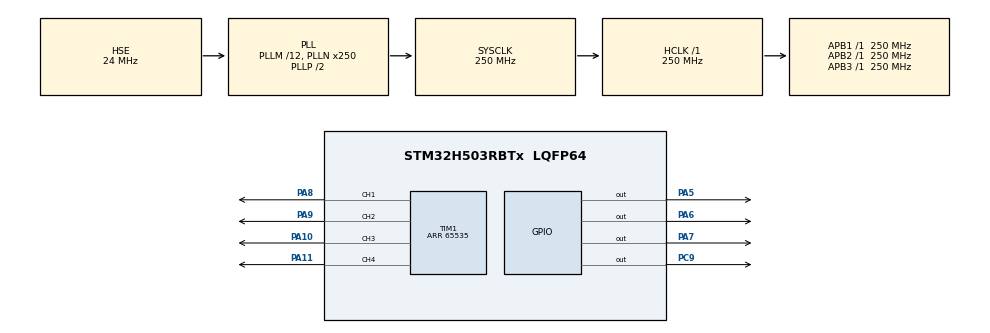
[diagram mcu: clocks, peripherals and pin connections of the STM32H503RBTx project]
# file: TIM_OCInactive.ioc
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Mcu.Family=STM32H5
Mcu.Name=STM32H503RBTx
Mcu.Package=LQFP64
NVIC.PriorityGroup=NVIC_PRIORITYGROUP_4
NVIC.TIM1_CC_IRQn=true\:0\:0\:false\:false\:true\:true\:true\:true
PA10.GPIO_PuPd=GPIO_PULLUP
PA10.GPIO_Speed=GPIO_SPEED_FREQ_VERY_HIGH
PA10.Signal=S_TIM1_CH3
PA11.GPIO_PuPd=GPIO_PULLUP
PA11.GPIO_Speed=GPIO_SPEED_FREQ_VERY_HIGH
PA11.Signal=S_TIM1_CH4
PA5.GPIO_PuPd=GPIO_PULLUP
PA5.GPIO_Speed=GPIO_SPEED_FREQ_HIGH
PA5.Signal=GPIO_Output
PA6.GPIO_PuPd=GPIO_PULLUP
PA6.GPIO_Speed=GPIO_SPEED_FREQ_HIGH
PA6.Signal=GPIO_Output
PA7.GPIO_PuPd=GPIO_PULLUP
PA7.GPIO_Speed=GPIO_SPEED_FREQ_HIGH
PA7.Signal=GPIO_Output
PA8.GPIO_PuPd=GPIO_PULLUP
PA8.GPIO_Speed=GPIO_SPEED_FREQ_VERY_HIGH
PA8.Signal=S_TIM1_CH1
PA9.GPIO_PuPd=GPIO_PULLUP
PA9.GPIO_Speed=GPIO_SPEED_FREQ_VERY_HIGH
PA9.Signal=S_TIM1_CH2
PC9.GPIO_PuPd=GPIO_PULLUP
PC9.GPIO_Speed=GPIO_SPEED_FREQ_HIGH
PC9.Signal=GPIO_Output
PH0-OSC_IN(PH0).Mode=HSE-External-Oscillator
PH0-OSC_IN(PH0).Signal=RCC_OSC_IN
PH1-OSC_OUT(PH1).Mode=HSE-External-Oscillator
PH1-OSC_OUT(PH1).Signal=RCC_OSC_OUT
ProjectManager.HeapSize=0x200
ProjectManager.StackSize=0x400
ProjectManager.TargetToolchain=EWARM V9.20
RCC.ADCFreq_Value=250000000
RCC.AHBFreq_Value=250000000
RCC.APB1Freq_Value=250000000
RCC.APB1TimFreq_Value=250000000
RCC.APB2Freq_Value=250000000
RCC.APB2TimFreq_Value=250000000
RCC.APB3Freq_Value=250000000
RCC.CSI_VALUE=4000000
RCC.CortexFreq_Value=250000000
RCC.EPOD_VALUE=24000000
RCC.HCLKFreq_Value=250000000
RCC.HSE_VALUE=24000000
RCC.HSI48_VALUE=48000000
RCC.HSIDiv=RCC_HSI_DIV1
RCC.HSI_VALUE=64000000
RCC.LSE_VALUE=32768
RCC.LSIRC_VALUE=32000
RCC.PLLM=12
RCC.PLLN=250
RCC.PLLSourceVirtual=RCC_PLL1_SOURCE_HSE
RCC.SYSCLKFreq_VALUE=250000000
RCC.SYSCLKSource=RCC_SYSCLKSOURCE_PLLCLK
RCC.USBFreq_Value=48000000
RCC.VCOOutputFreq_Value=500000000
SH.S_TIM1_CH1.0=TIM1_CH1,Output Compare1 CH1
SH.S_TIM1_CH2.0=TIM1_CH2,Output Compare2 CH2
SH.S_TIM1_CH3.0=TIM1_CH3,Output Compare3 CH3
SH.S_TIM1_CH4.0=TIM1_CH4,Output Compare4 CH4
TIM1.AutoReloadPreload=TIM_AUTORELOAD_PRELOAD_DISABLE
TIM1.AutomaticOutput=TIM_AUTOMATICOUTPUT_DISABLE
TIM1.Break2Filter=0
TIM1.Break2Polarity=TIM_BREAK2POLARITY_HIGH
TIM1.Break2State=TIM_BREAK2_DISABLE
TIM1.BreakFilter=0
TIM1.BreakPolarity=TIM_BREAKPOLARITY_HIGH
TIM1.BreakState=TIM_BREAK_DISABLE
TIM1.Channel-Output\ Compare1\ CH1=TIM_CHANNEL_1
TIM1.Channel-Output\ Compare2\ CH2=TIM_CHANNEL_2
TIM1.Channel-Output\ Compare3\ CH3=TIM_CHANNEL_3
TIM1.Channel-Output\ Compare4\ CH4=TIM_CHANNEL_4
TIM1.ClearInputSource=TIM_CLEARINPUTSOURCE_NONE
TIM1.ClockDivision=TIM_CLOCKDIVISION_DIV1
TIM1.CounterMode=TIM_COUNTERMODE_UP
TIM1.LockLevel=TIM_LOCKLEVEL_OFF
TIM1.OC1Preload=DISABLE
TIM1.OC2Preload=DISABLE
TIM1.OC3Preload=DISABLE
TIM1.OC4Preload=DISABLE
TIM1.OCIdleState_1=TIM_OCIDLESTATE_RESET
TIM1.OCIdleState_2=TIM_OCIDLESTATE_RESET
TIM1.OCIdleState_3=TIM_OCIDLESTATE_RESET
TIM1.OCIdleState_4=TIM_OCIDLESTATE_RESET
TIM1.OCMode_1=TIM_OCMODE_INACTIVE
TIM1.OCMode_2=TIM_OCMODE_INACTIVE
TIM1.OCMode_3=TIM_OCMODE_INACTIVE
TIM1.OCMode_4=TIM_OCMODE_INACTIVE
TIM1.OCPolarity_1=TIM_OCPOLARITY_HIGH
TIM1.OCPolarity_2=TIM_OCPOLARITY_HIGH
TIM1.OCPolarity_3=TIM_OCPOLARITY_HIGH
TIM1.OCPolarity_4=TIM_OCPOLARITY_HIGH
TIM1.OffStateIDLEMode=TIM_OSSI_DISABLE
TIM1.OffStateRunMode=TIM_OSSR_DISABLE
TIM1.Period=65535
TIM1.Prescaler=PRESCALER_VALUE
TIM1.PulseNoDither_1=PULSE1_VALUE
TIM1.PulseNoDither_2=PULSE2_VALUE
TIM1.PulseNoDither_3=PULSE3_VALUE
TIM1.PulseNoDither_4=PULSE4_VALUE
TIM1.RepetitionCounter=0
TIM1.SourceBRK2COMP1=TIM_BREAKINPUTSOURCE_DISABLE
TIM1.SourceBRK2DigInput=TIM_BREAKINPUTSOURCE_DISABLE
TIM1.SourceBRKCOMP1=TIM_BREAKINPUTSOURCE_DISABLE
TIM1.SourceBRKDigInput=TIM_BREAKINPUTSOURCE_DISABLE
TIM1.TIM_MasterOutputTrigger=TIM_TRGO_RESET
TIM1.TIM_MasterOutputTrigger2=TIM_TRGO2_RESET
TIM1.TIM_MasterSlaveMode=TIM_MASTERSLAVEMODE_DISABLE
VP_ICACHE_VS_ICACHE.Mode=DefaultMode
VP_PWR_VS_SECSignals.Mode=Security/Privilege
board=custom

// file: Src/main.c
/* USER CODE BEGIN Header */
/**
  ******************************************************************************
  * @file    TIM/TIM_OCInactive/Src/main.c
  * @author  MCD Application Team
  * @brief   This example shows how to configure the Timer to generate four
  *          delayed signals.
  ******************************************************************************
  * @attention
  *
  * Copyright (c) 2023 STMicroelectronics.
  * All rights reserved.
  *
  * This software is licensed under terms that can be found in the LICENSE file
  * in the root directory of this software component.
  * If no LICENSE file comes with this software, it is provided AS-IS.
  *
  ******************************************************************************
  */
/* USER CODE END Header */
#include "main.h"

TIM_HandleTypeDef htim1;

void SystemClock_Config(void);
static void MX_GPIO_Init(void);
static void MX_ICACHE_Init(void);
static void MX_TIM1_Init(void);

int main(void)
{

  /* USER CODE BEGIN 1 */
  /* STM32H5xx HAL library initialization:
       - Systick timer is configured by default as source of time base, but user
             can eventually implement his proper time base source (a general purpose
             timer for example or other time source), keeping in mind that Time base
             duration should be kept 1ms since PPP_TIMEOUT_VALUEs are defined and
             handled in milliseconds basis.
       - Set NVIC Group Priority to 4
       - Low Level Initialization
     */
  /* USER CODE END 1 */

  /* MCU Configuration--------------------------------------------------------*/

  /* Reset of all peripherals, Initializes the Flash interface and the Systick. */
  HAL_Init();

  /* Configure the system clock */
  SystemClock_Config();

  /* Initialize all configured peripherals */
  MX_GPIO_Init();
  MX_ICACHE_Init();
  MX_TIM1_Init();
  /* USER CODE BEGIN 2 */
  /*## Set GPIO Pins PA4, PA5, PA6 and PA7 as reference ###################*/
  HAL_GPIO_WritePin(GPIOA, GPIO_PIN_5, GPIO_PIN_SET);
  HAL_GPIO_WritePin(GPIOA, GPIO_PIN_6, GPIO_PIN_SET);
  HAL_GPIO_WritePin(GPIOA, GPIO_PIN_7, GPIO_PIN_SET);
  HAL_GPIO_WritePin(GPIOC, GPIO_PIN_9, GPIO_PIN_SET);

  /*## Start signals generation #######################################*/
  /* Start channel 1 in Output compare mode */
  if(HAL_TIM_OC_Start_IT(&htim1, TIM_CHANNEL_1) != HAL_OK)
  {
    /* Starting Error */
    Error_Handler();
  }
  /* Start channel 2 in Output compare mode */
  if(HAL_TIM_OC_Start_IT(&htim1, TIM_CHANNEL_2) != HAL_OK)
  {
    /* Starting Error */
    Error_Handler();
  }
  /* Start channel 3 in Output compare mode */
  if(HAL_TIM_OC_Start_IT(&htim1, TIM_CHANNEL_3) != HAL_OK)
  {
    /* Starting Error */
    Error_Handler();
  }
  /* Start channel 4 in Output compare mode */
  if(HAL_TIM_OC_Start_IT(&htim1, TIM_CHANNEL_4) != HAL_OK)
  {
    /* Starting Error */
    Error_Handler();
  }

  /* USER CODE END 2 */

  /* Infinite loop */
  while (1)
  {

  }
}

void SystemClock_Config(void)
{
  RCC_OscInitTypeDef RCC_OscInitStruct = {0};
  RCC_ClkInitTypeDef RCC_ClkInitStruct = {0};

  /** Configure the main internal regulator output voltage
  */
  __HAL_PWR_VOLTAGESCALING_CONFIG(PWR_REGULATOR_VOLTAGE_SCALE0);

  while(!__HAL_PWR_GET_FLAG(PWR_FLAG_VOSRDY)) {}

  /** Initializes the RCC Oscillators according to the specified parameters
  * in the RCC_OscInitTypeDef structure.
  */
  RCC_OscInitStruct.OscillatorType = RCC_OSCILLATORTYPE_HSE;
  RCC_OscInitStruct.HSEState = RCC_HSE_ON;
  RCC_OscInitStruct.PLL.PLLState = RCC_PLL_ON;
  RCC_OscInitStruct.PLL.PLLSource = RCC_PLL1_SOURCE_HSE;
  RCC_OscInitStruct.PLL.PLLM = 12;
  RCC_OscInitStruct.PLL.PLLN = 250;
  RCC_OscInitStruct.PLL.PLLP = 2;
  RCC_OscInitStruct.PLL.PLLQ = 2;
  RCC_OscInitStruct.PLL.PLLR = 2;
  RCC_OscInitStruct.PLL.PLLRGE = RCC_PLL1_VCIRANGE_1;
  RCC_OscInitStruct.PLL.PLLVCOSEL = RCC_PLL1_VCORANGE_WIDE;
  RCC_OscInitStruct.PLL.PLLFRACN = 0;
  if (HAL_RCC_OscConfig(&RCC_OscInitStruct) != HAL_OK)
  {
    Error_Handler();
  }

  /** Initializes the CPU, AHB and APB buses clocks
  */
  RCC_ClkInitStruct.ClockType = RCC_CLOCKTYPE_HCLK|RCC_CLOCKTYPE_SYSCLK
                              |RCC_CLOCKTYPE_PCLK1|RCC_CLOCKTYPE_PCLK2
                              |RCC_CLOCKTYPE_PCLK3;
  RCC_ClkInitStruct.SYSCLKSource = RCC_SYSCLKSOURCE_PLLCLK;
  RCC_ClkInitStruct.AHBCLKDivider = RCC_SYSCLK_DIV1;
  RCC_ClkInitStruct.APB1CLKDivider = RCC_HCLK_DIV1;
  RCC_ClkInitStruct.APB2CLKDivider = RCC_HCLK_DIV1;
  RCC_ClkInitStruct.APB3CLKDivider = RCC_HCLK_DIV1;

  if (HAL_RCC_ClockConfig(&RCC_ClkInitStruct, FLASH_LATENCY_5) != HAL_OK)
  {
    Error_Handler();
  }

  /** Configure the programming delay
  */
  __HAL_FLASH_SET_PROGRAM_DELAY(FLASH_PROGRAMMING_DELAY_2);
}

static void MX_ICACHE_Init(void)
{

  /** Enable instruction cache (default 2-ways set associative cache)
  */
  if (HAL_ICACHE_Enable() != HAL_OK)
  {
    Error_Handler();
  }

}

static void MX_TIM1_Init(void)
{

  TIM_MasterConfigTypeDef sMasterConfig = {0};
  TIM_OC_InitTypeDef sConfigOC = {0};
  TIM_BreakDeadTimeConfigTypeDef sBreakDeadTimeConfig = {0};

  htim1.Instance = TIM1;
  htim1.Init.Prescaler = PRESCALER_VALUE;
  htim1.Init.CounterMode = TIM_COUNTERMODE_UP;
  htim1.Init.Period = 65535;
  htim1.Init.ClockDivision = TIM_CLOCKDIVISION_DIV1;
  htim1.Init.RepetitionCounter = 0;
  htim1.Init.AutoReloadPreload = TIM_AUTORELOAD_PRELOAD_DISABLE;
  if (HAL_TIM_OC_Init(&htim1) != HAL_OK)
  {
    Error_Handler();
  }
  sMasterConfig.MasterOutputTrigger = TIM_TRGO_RESET;
  sMasterConfig.MasterOutputTrigger2 = TIM_TRGO2_RESET;
  sMasterConfig.MasterSlaveMode = TIM_MASTERSLAVEMODE_DISABLE;
  if (HAL_TIMEx_MasterConfigSynchronization(&htim1, &sMasterConfig) != HAL_OK)
  {
    Error_Handler();
  }
  sConfigOC.OCMode = TIM_OCMODE_INACTIVE;
  sConfigOC.Pulse = PULSE1_VALUE;
  sConfigOC.OCPolarity = TIM_OCPOLARITY_HIGH;
  sConfigOC.OCNPolarity = TIM_OCNPOLARITY_HIGH;
  sConfigOC.OCFastMode = TIM_OCFAST_DISABLE;
  sConfigOC.OCIdleState = TIM_OCIDLESTATE_RESET;
  sConfigOC.OCNIdleState = TIM_OCNIDLESTATE_RESET;
  if (HAL_TIM_OC_ConfigChannel(&htim1, &sConfigOC, TIM_CHANNEL_1) != HAL_OK)
  {
    Error_Handler();
  }
  sConfigOC.Pulse = PULSE2_VALUE;
  if (HAL_TIM_OC_ConfigChannel(&htim1, &sConfigOC, TIM_CHANNEL_2) != HAL_OK)
  {
    Error_Handler();
  }
  sConfigOC.Pulse = PULSE3_VALUE;
  if (HAL_TIM_OC_ConfigChannel(&htim1, &sConfigOC, TIM_CHANNEL_3) != HAL_OK)
  {
    Error_Handler();
  }
  sConfigOC.Pulse = PULSE4_VALUE;
  if (HAL_TIM_OC_ConfigChannel(&htim1, &sConfigOC, TIM_CHANNEL_4) != HAL_OK)
  {
    Error_Handler();
  }
  sBreakDeadTimeConfig.OffStateRunMode = TIM_OSSR_DISABLE;
  sBreakDeadTimeConfig.OffStateIDLEMode = TIM_OSSI_DISABLE;
  sBreakDeadTimeConfig.LockLevel = TIM_LOCKLEVEL_OFF;
  sBreakDeadTimeConfig.DeadTime = 0;
  sBreakDeadTimeConfig.BreakState = TIM_BREAK_DISABLE;
  sBreakDeadTimeConfig.BreakPolarity = TIM_BREAKPOLARITY_HIGH;
  sBreakDeadTimeConfig.BreakFilter = 0;
  sBreakDeadTimeConfig.BreakAFMode = TIM_BREAK_AFMODE_INPUT;
  sBreakDeadTimeConfig.Break2State = TIM_BREAK2_DISABLE;
  sBreakDeadTimeConfig.Break2Polarity = TIM_BREAK2POLARITY_HIGH;
  sBreakDeadTimeConfig.Break2Filter = 0;
  sBreakDeadTimeConfig.Break2AFMode = TIM_BREAK_AFMODE_INPUT;
  sBreakDeadTimeConfig.AutomaticOutput = TIM_AUTOMATICOUTPUT_DISABLE;
  if (HAL_TIMEx_ConfigBreakDeadTime(&htim1, &sBreakDeadTimeConfig) != HAL_OK)
  {
    Error_Handler();
  }
  HAL_TIM_MspPostInit(&htim1);

}

static void MX_GPIO_Init(void)
{
  GPIO_InitTypeDef GPIO_InitStruct = {0};

  /* GPIO Ports Clock Enable */
  __HAL_RCC_GPIOH_CLK_ENABLE();
  __HAL_RCC_GPIOA_CLK_ENABLE();
  __HAL_RCC_GPIOC_CLK_ENABLE();

  /*Configure GPIO pin Output Level */
  HAL_GPIO_WritePin(GPIOA, GPIO_PIN_5|GPIO_PIN_6|GPIO_PIN_7, GPIO_PIN_RESET);

  /*Configure GPIO pin Output Level */
  HAL_GPIO_WritePin(GPIOC, GPIO_PIN_9, GPIO_PIN_RESET);

  /*Configure GPIO pins : PA5 PA6 PA7 */
  GPIO_InitStruct.Pin = GPIO_PIN_5|GPIO_PIN_6|GPIO_PIN_7;
  GPIO_InitStruct.Mode = GPIO_MODE_OUTPUT_PP;
  GPIO_InitStruct.Pull = GPIO_PULLUP;
  GPIO_InitStruct.Speed = GPIO_SPEED_FREQ_HIGH;
  HAL_GPIO_Init(GPIOA, &GPIO_InitStruct);

  /*Configure GPIO pin : PC9 */
  GPIO_InitStruct.Pin = GPIO_PIN_9;
  GPIO_InitStruct.Mode = GPIO_MODE_OUTPUT_PP;
  GPIO_InitStruct.Pull = GPIO_PULLUP;
  GPIO_InitStruct.Speed = GPIO_SPEED_FREQ_HIGH;
  HAL_GPIO_Init(GPIOC, &GPIO_InitStruct);

}

/* USER CODE BEGIN 4 */
/**
  * @brief  Output Compare callback in non blocking mode
  * @param  htim : TIM OC handle
  * @retval None
  */
void HAL_TIM_OC_DelayElapsedCallback(TIM_HandleTypeDef *htim)
{
  if(htim->Channel == HAL_TIM_ACTIVE_CHANNEL_1)
  {
    /* Reset GPIO Pin PA4 after 1s */
    HAL_GPIO_WritePin(GPIOA, GPIO_PIN_5, GPIO_PIN_RESET);
  }
  else if(htim->Channel == HAL_TIM_ACTIVE_CHANNEL_2)
  {
    /* Reset GPIO Pin PA5 after 500ms */
    HAL_GPIO_WritePin(GPIOA, GPIO_PIN_6, GPIO_PIN_RESET);
  }
  else if(htim->Channel == HAL_TIM_ACTIVE_CHANNEL_3)
  {
    /* Reset GPIO Pin PA6 after 250ms */
    HAL_GPIO_WritePin(GPIOA, GPIO_PIN_7, GPIO_PIN_RESET);
  }
  else
  {
    /* Reset GPIO Pin PA7 after 125ms */
    HAL_GPIO_WritePin(GPIOC, GPIO_PIN_9, GPIO_PIN_RESET);
  }
}

/* USER CODE END 4 */

void Error_Handler(void)
{
  while(1)
  {
  }
}
